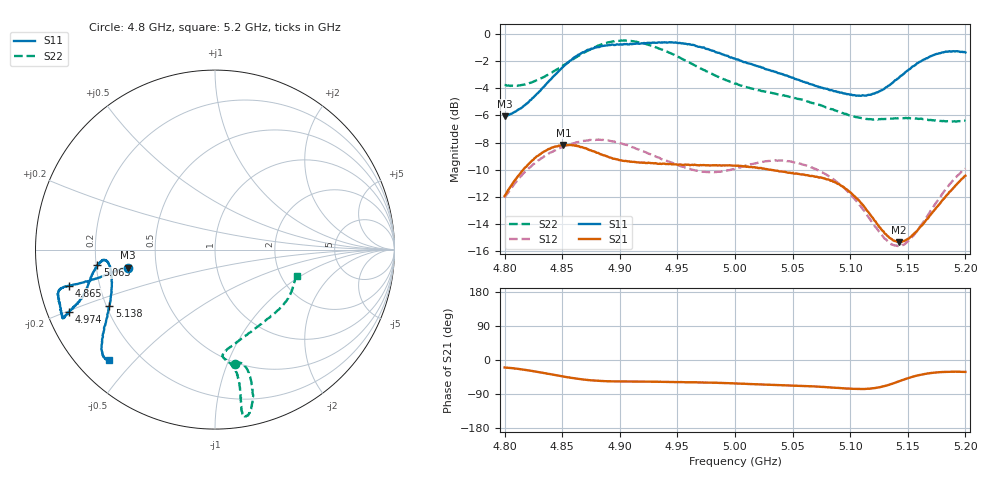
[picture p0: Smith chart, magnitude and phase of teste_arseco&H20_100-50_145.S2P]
! Network Analyzer HP8722D
! Hewlett-Packard
! Data name: Linha & Wilkinson
! Saver's name: Rodrigo Anjos
! Comments: Teste da utilização de aquisição
! continua pelo VNA HP8722D
! Time and date: 6/5/2025 13:46
!  Frequency  S11  S21  S12  S22
# HZ  S  MA R 50
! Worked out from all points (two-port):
!   401 points, 4.8 GHz to 5.2 GHz, reference 50 ohm
!   highest |S21| = -8.17 dB at 4.851 GHz (marker M1); lowest = -15.3 dB at 5.142 GHz (marker M2)
!   |S21| within 3 dB of the highest: 4.806 GHz to 5.092 GHz (286.4 MHz wide, 5.79 % of centre); 5.191306 GHz to end of sweep
!   lowest |S11| = -6.1 dB at 4.8 GHz (marker M3), VSWR 2.98, Z = 16.9 - j4.53 ohm
!   |S11| at or under -10 dB: nowhere
!   |S22| runs from -6.5 to -0.5 dB; largest |S21 - S12| = 0.62
!   S11 on the Smith chart (normalised r, x): 4.8 GHz: 0.34, -0.09; 4.865 GHz: 0.09, -0.12; 4.974 GHz: 0.06, -0.20; 5.063 GHz: 0.21, -0.06; 5.138 GHz: 0.21, -0.24; 5.2 GHz: 0.09, -0.42
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4.8e9  0.4977 -168.3  0.2534 -19.8  0.2495 -141.1  0.6484 -80.3
4.823e9  0.5718 -167.6  0.3391 -28.5  0.3254 -144.2  0.6609 -76.0
4.851e9  0.7576 -166.0  0.3902 -43.6  0.384 -149.6  0.7655 -74.6
4.865e9  0.8401 -166.2  0.3848 -50.2  0.4004 -152.0  0.8335 -75.4
4.867e9  0.8503 -166.0  0.3833 -51.0  0.4024 -152.3  0.8438 -75.4
4.899e9  0.9126 -163.1  0.3437 -56.7  0.3976 -157.0  0.9419 -79.2
4.934e9  0.9298 -156.6  0.3325 -57.7  0.3508 -155.7  0.8824 -80.6
4.953e9  0.9232 -155.6  0.3307 -58.3  0.3257 -152.2  0.8127 -79.9
4.974e9  0.8838 -156.8  0.3285 -59.4  0.3108 -145.6  0.7332 -79.7
5e9  0.8097 -159.0  0.3274 -61.9  0.3193 -137.4  0.655 -81.4
5.038e9  0.7164 -166.3  0.3123 -66.2  0.3425 -134.6  0.5984 -85.8
5.063e9  0.6602 -172.7  0.3021 -68.9  0.3271 -136.5  0.5635 -83.6
5.067e9  0.6509 -173.3  0.3002 -69.2  0.3224 -137.0  0.556 -82.6
5.082e9  0.621 -174.7  0.2901 -72.1  0.2985 -138.4  0.5325 -77.1
5.1e9  0.5964 -172.5  0.2613 -75.6  0.2574 -138.9  0.5016 -67.1
5.116e9  0.5963 -165.6  0.2203 -76.0  0.2113 -135.5  0.4851 -55.6
5.134e9  0.6461 -154.2  0.1779 -65.1  0.1702 -120.6  0.4882 -43.1
5.138e9  0.6671 -151.9  0.1735 -61.1  0.1669 -115.4  0.4881 -40.8
5.142e9  0.6869 -149.9  0.1716 -56.6  0.1661 -110.1  0.4891 -38.6
5.154e9  0.7575 -144.7  0.1819 -44.4  0.1798 -95.1  0.4887 -32.3
5.173e9  0.8371 -139.1  0.2243 -33.4  0.234 -80.9  0.48 -24.3
5.2e9  0.8534 -133.9  0.3006 -31.4  0.3193 -77.1  0.4781 -17.6
